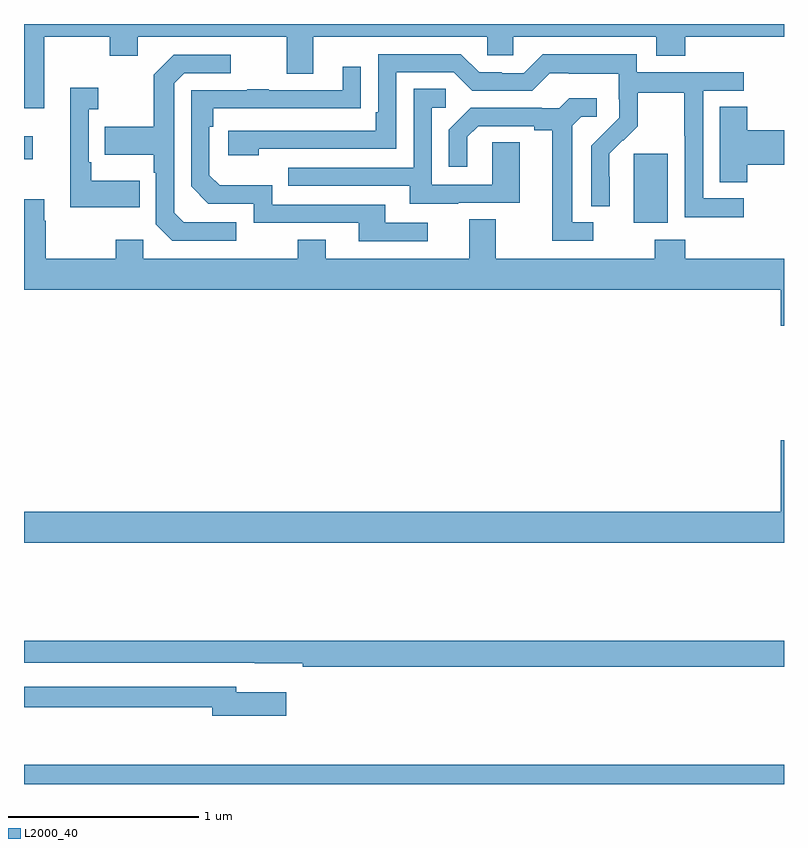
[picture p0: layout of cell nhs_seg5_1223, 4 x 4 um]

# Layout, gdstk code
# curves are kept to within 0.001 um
import gdstk
lib = gdstk.Library(unit=1e-6, precision=1e-09)
def R(c, l, rs):  # rectangles x0, y0, x1, y1
    for r in rs: c.add(gdstk.rectangle(r[:2], r[2:], *l))
def P(c, l, *ps):  # polygons
    for p in ps: c.add(gdstk.Polygon(p, *l))
L2000_40 = (2000, 40)

nhs_seg5_1223 = lib.new_cell('nhs_seg5_1223')
R(nhs_seg5_1223, L2000_40, [(185,880.799,189,880.9), (188.21,883.754,188.389,884.115), (185,884.087,185.047,884.209)])
P(nhs_seg5_1223, L2000_40, [(185.107,884.732),(185.452,884.732),(185.452,884.633),(185.599,884.633),(185.599,884.732),(186.383,884.732),(186.383,884.538),(186.523,884.538),(186.523,884.732),(187.437,884.732),(187.437,884.634),(187.575,884.634),(187.575,884.732),(188.327,884.732),(188.327,884.633),(188.48,884.633),(188.48,884.732),(189,884.732),(189,884.799),(185,884.799),(185,884.355),(185.107,884.355)],
  [(188.788,883.881),(188.574,883.881),(188.574,884.448),(188.788,884.448),(188.788,884.544),(188.226,884.544),(188.226,884.641),(187.729,884.641),(187.629,884.541),(187.514,884.541),(187.514,884.544),(187.395,884.544),(187.299,884.64),(186.864,884.64),(186.864,884.335),(186.851,884.335),(186.851,884.238),(186.075,884.238),(186.075,884.108),(186.236,884.108),(186.236,884.142),(186.96,884.142),(186.96,884.544),(187.263,884.544),(187.359,884.448),(187.674,884.448),(187.767,884.541),(187.867,884.541),(187.867,884.537),(188.13,884.537),(188.13,884.403),(188.132,884.403),(188.132,884.306),(187.986,884.158),(187.986,883.84),(188.082,883.84),(188.081,884.117),(188.151,884.187),(188.154,884.184),(188.231,884.261),(188.231,884.436),(188.476,884.436),(188.476,884.212),(188.478,884.212),(188.478,883.783),(188.788,883.783)],
  [(186.118,883.755),(185.841,883.755),(185.79,883.806),(185.79,884.487),(185.844,884.541),(186.088,884.541),(186.088,884.637),(185.787,884.637),(185.682,884.531),(185.682,884.259),(185.425,884.259),(185.425,884.111),(185.682,884.111),(185.682,884.015),(185.694,884.015),(185.694,883.746),(185.781,883.659),(186.118,883.659)],
  [(187.126,883.752),(186.901,883.752),(186.901,883.848),(186.306,883.848),(186.306,883.951),(186.029,883.951),(185.976,884.004),(185.976,884.258),(185.996,884.258),(185.996,884.355),(186.773,884.356),(186.773,884.575),(186.677,884.575),(186.677,884.451),(186.287,884.451),(186.287,884.456),(186.175,884.456),(186.175,884.451),(185.88,884.451),(185.88,883.944),(185.97,883.854),(186.21,883.854),(186.21,883.752),(186.761,883.752),(186.761,883.656),(187.126,883.656)],
  [(185.609,883.975),(185.353,883.975),(185.353,884.071),(185.34,884.071),(185.34,884.351),(185.392,884.351),(185.392,884.464),(185.243,884.464),(185.243,883.835),(185.609,883.835)],
  [(187.285,883.857),(187.609,883.857),(187.609,884.177),(187.464,884.177),(187.464,883.953),(187.146,883.953),(187.146,884.358),(187.219,884.358),(187.219,884.459),(187.05,884.459),(187.05,884.043),(186.391,884.043),(186.391,883.947),(187.031,883.947),(187.031,883.853),(187.285,883.853)],
  [(187.996,883.755),(187.885,883.755),(187.885,884.263),(187.932,884.31),(188.014,884.31),(188.014,884.407),(187.87,884.407),(187.818,884.355),(187.724,884.355),(187.724,884.358),(187.352,884.358),(187.236,884.242),(187.236,884.049),(187.333,884.049),(187.333,884.205),(187.39,884.262),(187.685,884.262),(187.685,884.24),(187.781,884.24),(187.781,883.659),(187.996,883.659)],
  [(188.807,884.057),(189,884.057),(189,884.24),(188.807,884.24),(188.807,884.363),(188.663,884.363),(188.663,883.966),(188.807,883.966)],
  [(189,883.564),(188.48,883.564),(188.48,883.663),(188.32,883.663),(188.32,883.564),(187.483,883.564),(187.483,883.772),(187.343,883.772),(187.343,883.564),(186.589,883.564),(186.589,883.663),(186.442,883.663),(186.442,883.564),(185.628,883.564),(185.628,883.663),(185.482,883.663),(185.482,883.564),(185.115,883.564),(185.115,883.763),(185.107,883.763),(185.107,883.876),(185,883.876),(185,883.4),(188.984,883.4),(188.984,883.212),(189,883.212)],
  [(189,882.607),(188.984,882.607),(188.984,882.232),(185,882.232),(185,882.068),(189,882.068)],
  [(189,881.552),(185,881.552),(185,881.436),(186.214,881.436),(186.214,881.435),(186.466,881.435),(186.466,881.416),(189,881.416)],
  [(186.379,881.281),(186.118,881.281),(186.118,881.31),(185,881.31),(185,881.202),(185.99,881.202),(185.99,881.159),(186.379,881.159)])

lib.write_gds('nhs_seg5_1223.gds')
